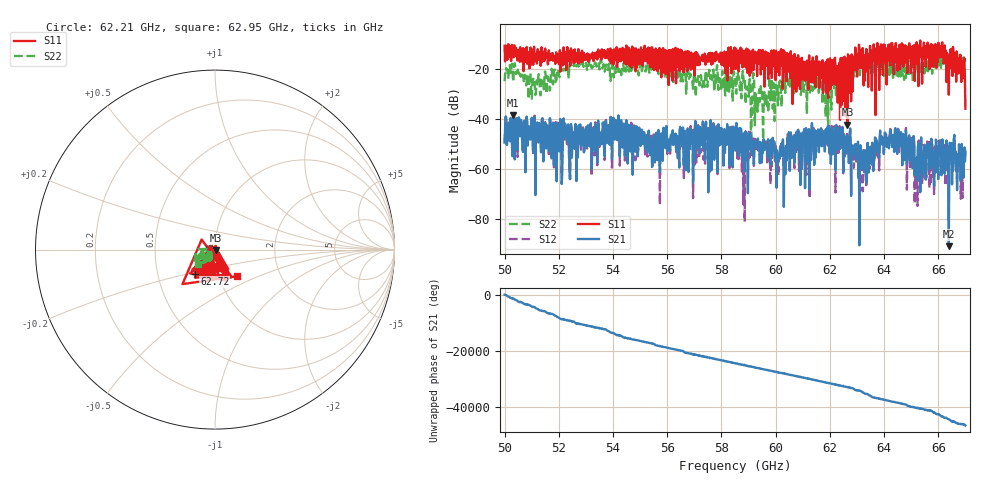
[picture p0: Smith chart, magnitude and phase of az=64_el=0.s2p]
!Created with skrf (http://scikit-rf.org).
# GHz S RI R 50.0
!freq ReS11 ImS11 ReS21 ImS21 ReS12 ImS12 ReS22 ImS22
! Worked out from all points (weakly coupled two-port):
!   1001 points, 50 GHz to 67 GHz, reference 50 ohm
!   highest |S21| = -38.68 dB at 50.32 GHz (marker M1); lowest = -91.0 dB at 66.39 GHz (marker M2)
!   lowest |S11| = -42.4 dB at 62.65 GHz (marker M3), VSWR 1.02, Z = 50.6 - j0.468 ohm
!   |S11| at or under -10 dB: start of sweep to 63.75 GHz; 63.75 GHz to 64.3 GHz (542.3 MHz wide, 0.847 % of centre); 66.15 GHz to end of sweep (the widest 3 of 12)
!   |S22| runs from -54.9 to -13.9 dB; largest |S21 - S12| = 0.0023
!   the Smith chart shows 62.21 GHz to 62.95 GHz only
!   S11 on the Smith chart (normalised r, x): 62.21 GHz: 1.05, -0.21; 62.72 GHz: 0.77, -0.21; 62.95 GHz: 1.22, -0.38
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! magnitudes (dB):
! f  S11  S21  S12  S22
! 50 GHz  -10.9  -49.6  -49.6  -25.0
! 50.32 GHz  -13.7  -38.7  -38.7  -25.3
! 51.07 GHz  -13.4  -48.4  -49.4  -23.6
! 52.84 GHz  -14.5  -46.6  -46.5  -19.3
! 54.06 GHz  -16.7  -48.4  -47.0  -19.6
! 55.68 GHz  -14.2  -44.6  -44.5  -22.2
! 58.5 GHz  -20.1  -43.7  -44.0  -24.6
! 58.89 GHz  -12.7  -45.1  -45.1  -34.1
! 59.61 GHz  -13.3  -50.3  -49.2  -34.4
! 60.39 GHz  -14.8  -50.9  -51.3  -22.4
! 61.34 GHz  -23.2  -41.8  -42.6  -25.8
! 62.21 GHz  -19.7  -60.5  -69.6  -25.0
! 62.65 GHz  -42.4  -47.0  -47.2  -23.2
! 62.72 GHz  -15.1  -55.5  -54.5  -20.5
! 62.95 GHz  -14.3  -50.2  -50.4  -18.2
! 63.28 GHz  -25.0  -61.1  -56.1  -16.9
! 64.18 GHz  -16.8  -51.9  -51.6  -18.6
! 64.72 GHz  -19.1  -47.9  -47.9  -19.0
! 65.2 GHz  -9.5  -57.4  -56.0  -19.9
! 66.39 GHz  -30.4  -91.0  -54.2  -17.0
! 66.9 GHz  -17.1  -55.7  -71.6  -15.3
! 67 GHz  -36.1  -53.2  -56.0  -15.8
